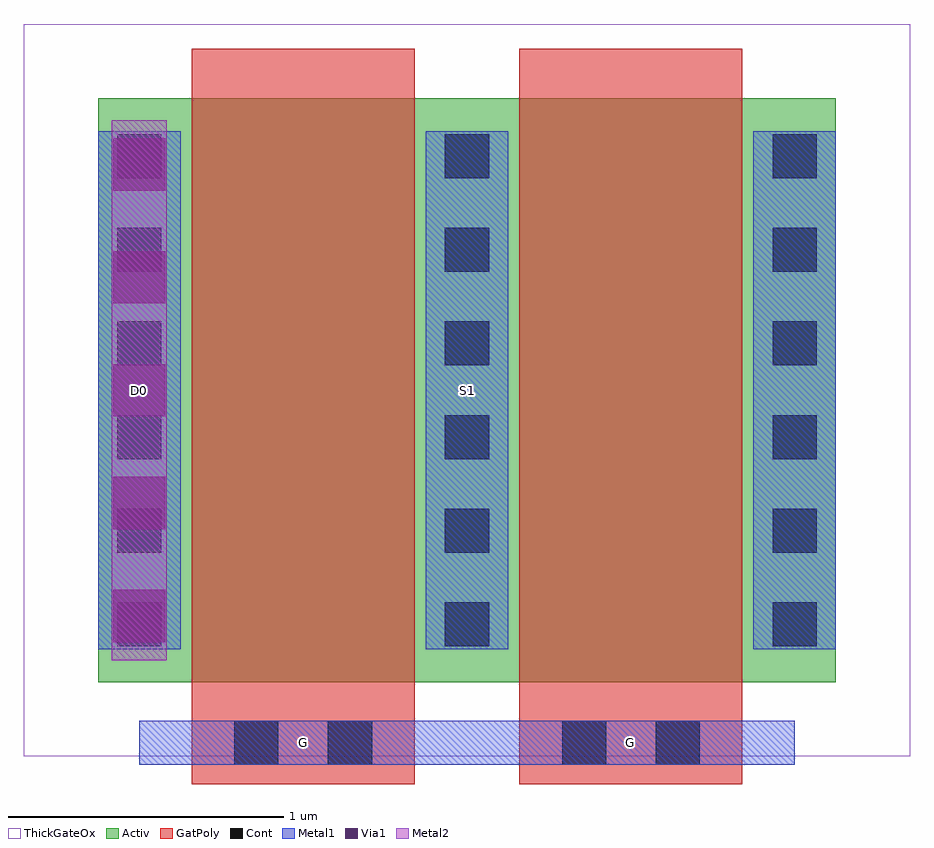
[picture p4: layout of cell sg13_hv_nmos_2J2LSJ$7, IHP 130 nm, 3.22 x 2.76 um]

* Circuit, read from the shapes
.subckt sg13_hv_nmos_2J2LSJ$7 D0 G S1
XM1 S1 G D0 VSUBS sg13_hv_nmos w=2.12u l=0.81u
XM2 n1 G S1 VSUBS sg13_hv_nmos w=2.12u l=0.81u
.ends

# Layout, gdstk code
import gdstk
lib = gdstk.Library(unit=1e-6, precision=1e-09)
def R(c, l, rs):  # rectangles x0, y0, x1, y1
    for r in rs: c.add(gdstk.rectangle(r[:2], r[2:], *l))
def A(c, l, x, y, w, h, nx, ny, dx, dy):  # array of equal rectangles
    R(c, l, [(x+i*dx, y+j*dy, x+i*dx+w, y+j*dy+h) for i in range(nx) for j in range(ny)])
Activ = (1, 0)
GatPoly = (5, 0)
Cont = (6, 0)
Metal1 = (8, 0)
Metal2 = (10, 0)
Via1 = (19, 0)
ThickGateOx = (44, 0)

sg13_hv_nmos_2j2lsj_7 = lib.new_cell('sg13_hv_nmos_2J2LSJ$7')
R(sg13_hv_nmos_2j2lsj_7, Activ, [(-1.34,-0.965,1.34,1.155)])
R(sg13_hv_nmos_2j2lsj_7, GatPoly, [(-1,-1.335,-0.19,1.335), (0.19,-1.335,1,1.335)])
A(sg13_hv_nmos_2j2lsj_7, Cont, -1.27, -0.835, 0.16, 0.16, 3, 6, 1.19, 0.34)
R(sg13_hv_nmos_2j2lsj_7, Cont, [(-0.845,-1.265,-0.685,-1.105), (-0.505,-1.265,-0.345,-1.105), (0.345,-1.265,0.505,-1.105), (0.685,-1.265,0.845,-1.105)])
A(sg13_hv_nmos_2j2lsj_7, Metal1, -1.34, -0.845, 0.3, 1.88, 3, 1, 1.19, 0)
R(sg13_hv_nmos_2j2lsj_7, Metal1, [(-1.19,-1.265,1.19,-1.105)])
R(sg13_hv_nmos_2j2lsj_7, Metal2, [(-1.29,-0.885,-1.09,1.075)])
A(sg13_hv_nmos_2j2lsj_7, Via1, -1.285, -0.82, 0.19, 0.19, 1, 5, 0, 0.41)
R(sg13_hv_nmos_2j2lsj_7, ThickGateOx, [(-1.61,-1.235,1.61,1.425)])
sg13_hv_nmos_2j2lsj_7.add(gdstk.Label('D0', (-1.19,0.095), layer=8, texttype=25))
sg13_hv_nmos_2j2lsj_7.add(gdstk.Label('G', (0.595,-1.185), layer=8, texttype=25))
sg13_hv_nmos_2j2lsj_7.add(gdstk.Label('G', (-0.595,-1.185), layer=8, texttype=25))
sg13_hv_nmos_2j2lsj_7.add(gdstk.Label('S1', (0,0.095), layer=8, texttype=25))

lib.write_gds('sg13_hv_nmos_2J2LSJ_7.gds')
